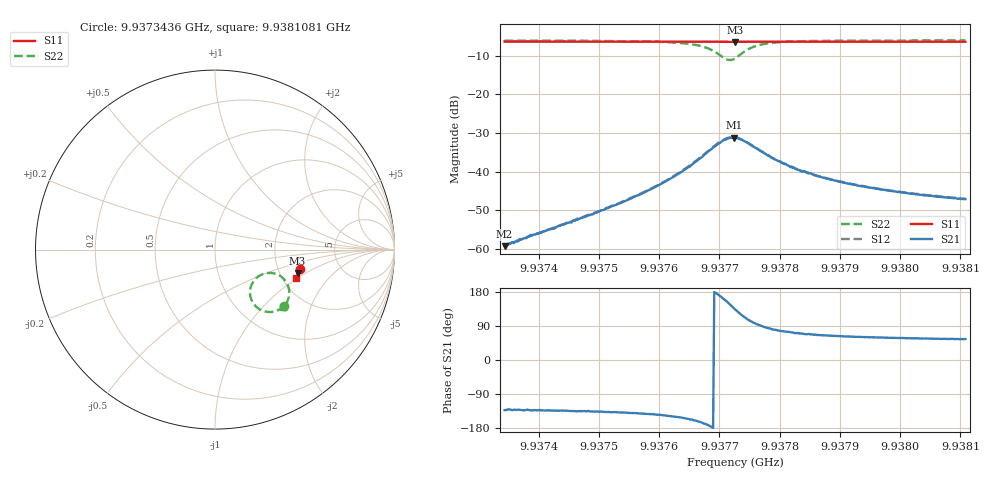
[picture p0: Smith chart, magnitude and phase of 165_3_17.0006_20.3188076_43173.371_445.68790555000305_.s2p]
#  HZ  S  RI  R  50.00
! Rohde & Schwarz Vector Network Analyzer
! Rohde-Schwarz,ZNB20-2Port,1311601062101988,3.16
! Created: UTC 3/20/2024, 10:59:25 PM
! freq[Hz]  re:S11  im:S11  re:S21  im:S21  re:S12  im:S12  re:S22  im:S22
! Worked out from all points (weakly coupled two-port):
!   401 points, 9.9373436 GHz to 9.9381081 GHz, reference 50 ohm
!   highest |S21| = -31.18 dB at 9.937724 GHz (marker M1); lowest = -59.3 dB at 9.9373436 GHz (marker M2)
!   lowest |S11| = -6.4 dB at 9.9377259 GHz (marker M3), VSWR 2.83, Z = 125 - j42.8 ohm
!   |S11| at or under -10 dB: nowhere
!   |S22| runs from -11.1 to -6.0 dB; largest |S21 - S12| = 0.0013
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9.93734364e9  0.4708 -0.1094  -0.000729 -0.000799  -0.00075 -0.000812  0.3857 -0.3138
9.9373895e9  0.4698 -0.1123  -0.00102 -0.00111  -0.00101 -0.00109  0.3811 -0.3179
9.93747169e9  0.4679 -0.1179  -0.00175 -0.00178  -0.00183 -0.00178  0.3704 -0.3264
9.93753667e9  0.4664 -0.1224  -0.00293 -0.00259  -0.00305 -0.00261  0.3567 -0.3349
9.93759974e9  0.4649 -0.1268  -0.00547 -0.00385  -0.00565 -0.00383  0.332 -0.3445
9.93764752e9  0.4633 -0.1301  -0.0102 -0.00472  -0.0106 -0.00461  0.2899 -0.3471
9.93767619e9  0.4619 -0.1319  -0.0165 -0.00342  -0.0169 -0.0031  0.2409 -0.3275
9.93769148e9  0.461 -0.1326  -0.0209 0.000278  -0.0215 0.000896  0.209 -0.2922
9.93770486e9  0.4602 -0.1327  -0.0238 0.00695  -0.0242 0.0077  0.1953 -0.2353
9.93771442e9  0.4599 -0.1327  -0.0236 0.0131  -0.0234 0.0141  0.2087 -0.1862
9.93772397e9  0.46 -0.1327  -0.0201 0.019  -0.0196 0.0198  0.2462 -0.1463
9.93772588e9  0.4597 -0.1324  -0.0189 0.0199  -0.0185 0.0208  0.2555 -0.1411
9.93773544e9  0.4603 -0.1328  -0.0131 0.0224  -0.0125 0.0232  0.3046 -0.1298
9.93774882e9  0.4609 -0.1334  -0.00609 0.0224  -0.00541 0.0225  0.3593 -0.1445
9.93776984e9  0.4612 -0.1351  0.000152 0.0182  0.000694 0.0182  0.4006 -0.1871
9.93778896e9  0.4612 -0.1368  0.00255 0.0148  0.00281 0.0146  0.4116 -0.2182
9.93781762e9  0.4607 -0.1389  0.00322 0.011  0.00366 0.0111  0.4136 -0.2487
9.93785394e9  0.4598 -0.1415  0.00354 0.00854  0.00377 0.00854  0.409 -0.2715
9.93790936e9  0.4585 -0.1454  0.00331 0.0063  0.00346 0.00627  0.4014 -0.2909
9.93798199e9  0.4567 -0.1503  0.00294 0.00481  0.00305 0.0048  0.3929 -0.3056
9.93804506e9  0.4551 -0.1544  0.00271 0.00408  0.00281 0.00407  0.3867 -0.3138
9.93810814e9  0.4533 -0.1585  0.00249 0.00362  0.00262 0.00361  0.3816 -0.3204
